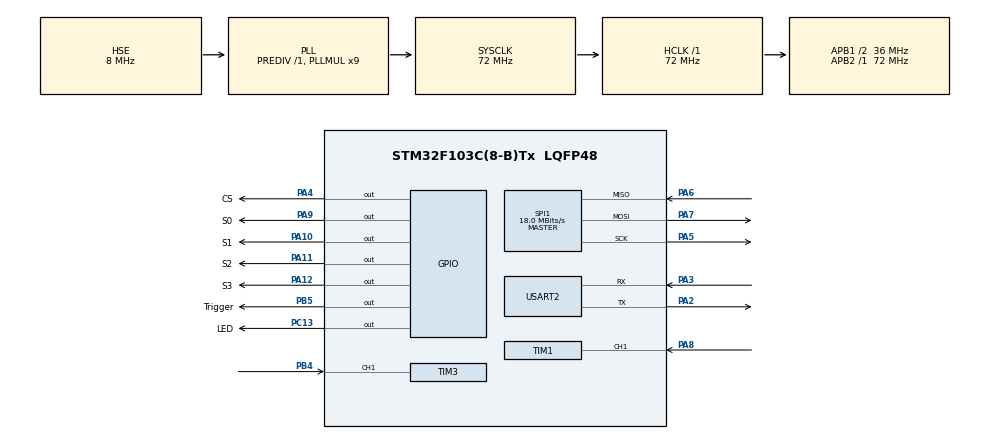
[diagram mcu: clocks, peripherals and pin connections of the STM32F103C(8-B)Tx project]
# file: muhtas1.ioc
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Mcu.Family=STM32F1
Mcu.Name=STM32F103C(8-B)Tx
Mcu.Package=LQFP48
NVIC.PriorityGroup=NVIC_PRIORITYGROUP_4
NVIC.TIM1_CC_IRQn=true\:0\:0\:false\:false\:true\:true\:true\:true
NVIC.TIM3_IRQn=true\:0\:0\:false\:false\:true\:true\:true\:true
PA10.GPIO_Label=S1
PA10.Signal=GPIO_Output
PA11.GPIO_Label=S2
PA11.Signal=GPIO_Output
PA12.GPIO_Label=S3
PA12.Signal=GPIO_Output
PA13.Mode=Serial_Wire
PA13.Signal=SYS_JTMS-SWDIO
PA14.Mode=Serial_Wire
PA14.Signal=SYS_JTCK-SWCLK
PA2.Mode=Asynchronous
PA2.Signal=USART2_TX
PA3.Mode=Asynchronous
PA3.Signal=USART2_RX
PA4.GPIO_Label=CS
PA4.Signal=GPIO_Output
PA5.Mode=Full_Duplex_Master
PA5.Signal=SPI1_SCK
PA6.Mode=Full_Duplex_Master
PA6.Signal=SPI1_MISO
PA7.Mode=Full_Duplex_Master
PA7.Signal=SPI1_MOSI
PA8.Signal=S_TIM1_CH1
PA9.GPIO_Label=S0
PA9.Signal=GPIO_Output
PB4.Signal=S_TIM3_CH1
PB5.GPIO_Label=Trigger
PB5.Signal=GPIO_Output
PC13-TAMPER-RTC.GPIO_Label=LED
PC13-TAMPER-RTC.Signal=GPIO_Output
PD0-OSC_IN.Mode=HSE-External-Oscillator
PD0-OSC_IN.Signal=RCC_OSC_IN
PD1-OSC_OUT.Mode=HSE-External-Oscillator
PD1-OSC_OUT.Signal=RCC_OSC_OUT
ProjectManager.HeapSize=0x200
ProjectManager.StackSize=0x400
ProjectManager.TargetToolchain=STM32CubeIDE
RCC.AHBFreq_Value=72000000
RCC.APB1CLKDivider=RCC_HCLK_DIV2
RCC.APB1Freq_Value=36000000
RCC.APB1TimFreq_Value=72000000
RCC.APB2Freq_Value=72000000
RCC.APB2TimFreq_Value=72000000
RCC.HCLKFreq_Value=72000000
RCC.PLLMUL=RCC_PLL_MUL9
RCC.PLLSourceVirtual=RCC_PLLSOURCE_HSE
RCC.SYSCLKFreq_VALUE=72000000
RCC.SYSCLKSource=RCC_SYSCLKSOURCE_PLLCLK
RCC.USBFreq_Value=72000000
SH.S_TIM1_CH1.0=TIM1_CH1,Input_Capture1_from_TI1
SH.S_TIM3_CH1.0=TIM3_CH1,Input_Capture1_from_TI1
SPI1.BaudRatePrescaler=SPI_BAUDRATEPRESCALER_4
SPI1.CalculateBaudRate=18.0 MBits/s
SPI1.Direction=SPI_DIRECTION_2LINES
SPI1.Mode=SPI_MODE_MASTER
SPI1.VirtualType=VM_MASTER
TIM1.Channel-Input_Capture1_from_TI1=TIM_CHANNEL_1
TIM1.Period=65535-1
TIM1.Prescaler=72-1
TIM2.Period=65534
TIM2.Prescaler=35
TIM3.AutoReloadPreload=TIM_AUTORELOAD_PRELOAD_ENABLE
TIM3.Channel-Input_Capture1_from_TI1=TIM_CHANNEL_1
USART2.VirtualMode=VM_ASYNC
VP_TIM1_VS_ClockSourceINT.Mode=Internal
VP_TIM2_VS_ClockSourceINT.Mode=Internal
board=custom

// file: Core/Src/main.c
/* USER CODE BEGIN Header */
/**
 ******************************************************************************
 * @file           : main.c
 * @brief          : Main program body
 ******************************************************************************
 * @attention
 *
 * Copyright (c) 2022 STMicroelectronics.
 * All rights reserved.
 *
 * This software is licensed under terms that can be found in the LICENSE file
 * in the root directory of this software component.
 * If no LICENSE file comes with this software, it is provided AS-IS.
 *
 ******************************************************************************
 */
/* USER CODE END Header */
#include "main.h"

/* USER CODE BEGIN Includes */
#include <string.h>
#include <stdlib.h>
#include <stdio.h>

#include "../W5500/mFunctions.h"
#include "../W5500/wizchip_conf.h"
#include "../W5500/socket.h"
#include "../W5500/w5500.h"

#define PORT 5000
#define SN 0
#define SOCK_TCPS 0

char msg[60];
/* USER CODE END Includes */

SPI_HandleTypeDef hspi1;

TIM_HandleTypeDef htim1;
TIM_HandleTypeDef htim2;
TIM_HandleTypeDef htim3;

UART_HandleTypeDef huart2;

void SystemClock_Config(void);
static void MX_GPIO_Init(void);
static void MX_SPI1_Init(void);
static void MX_USART2_UART_Init(void);
static void MX_TIM3_Init(void);
static void MX_TIM1_Init(void);
static void MX_TIM2_Init(void);
/* USER CODE BEGIN PFP */

#define IDLE 0
#define DONE 1
#define F_CLK 72000000UL

volatile uint8_t state = IDLE;
char message[50] = {};
char *point = message;
volatile uint32_t T1 = 0;
volatile uint32_t T3 = 0;
volatile uint32_t ticks = 0;
volatile uint16_t TIM3_OVC = 0;
volatile uint32_t frequency = 0;
int mDelay = 75;

//
uint32_t IC_Val1 = 0;
uint32_t IC_Val2 = 0;
uint32_t Difference = 0;
uint8_t Is_First_Captured = 0; // is the first value captured ?
uint8_t Distance = 0;
//

void HAL_TIM_IC_CaptureCallback(TIM_HandleTypeDef *htim)
{
  if (htim->Instance == TIM3) // if the interrupt source is channel1
  {
    if (state == IDLE)
    {
      T1 = TIM3->CCR1;
      TIM3_OVC = 0;
      state = DONE;
      message[0] = '\0';
    }
    else if (state == DONE)
    {
      T3 = TIM3->CCR1;
      ticks = (T3 + (TIM3_OVC * 65536)) - T1;
      frequency = (uint32_t)(F_CLK / ticks);
      state = IDLE;
    }
  }
  else if (htim->Instance == TIM1) // if the interrupt source is channel1
  {
    if (Is_First_Captured == 0) // if the first value is not captured
    {
      IC_Val1 = HAL_TIM_ReadCapturedValue(htim, TIM_CHANNEL_1); // read the first value
      Is_First_Captured = 1;                                    // set the first captured as true
      // Now change the polarity to falling edge
      __HAL_TIM_SET_CAPTUREPOLARITY(htim, TIM_CHANNEL_1, TIM_INPUTCHANNELPOLARITY_FALLING);
    }
    else if (Is_First_Captured == 1) // if the first is already captured
    {
      IC_Val2 = HAL_TIM_ReadCapturedValue(htim, TIM_CHANNEL_1); // read second value
      __HAL_TIM_SET_COUNTER(htim, 0);                           // reset the counter

      if (IC_Val2 > IC_Val1)
      {
        Difference = IC_Val2 - IC_Val1;
      }

      else if (IC_Val1 > IC_Val2)
      {
        Difference = (0xffff - IC_Val1) + IC_Val2;
      }

      Distance = Difference * .034 / 2;
      Is_First_Captured = 0; // set it back to false

      // set polarity to rising edge
      __HAL_TIM_SET_CAPTUREPOLARITY(htim, TIM_CHANNEL_1, TIM_INPUTCHANNELPOLARITY_RISING);
      __HAL_TIM_DISABLE_IT(&htim1, TIM_IT_CC1);
    }
  }
}

void HAL_TIM_PeriodElapsedCallback(TIM_HandleTypeDef *htim)
{
  TIM3_OVC++;
}

void HCSR04_Read(void)
{
  HAL_GPIO_WritePin(Trigger_GPIO_Port, Trigger_Pin, GPIO_PIN_SET);   // pull the TRIG pin HIGH
  mdelay(10);                                                         // wait for 10 us
  HAL_GPIO_WritePin(Trigger_GPIO_Port, Trigger_Pin, GPIO_PIN_RESET); // pull the TRIG pin low
  __HAL_TIM_ENABLE_IT(&htim1, TIM_IT_CC1);
}

void mdelay(uint16_t us)
{
  __HAL_TIM_SET_COUNTER(&htim2, 0); // set the counter value a 0
  while (__HAL_TIM_GET_COUNTER(&htim2) < us)
    ; // wait for the counter to reach the us input in the parameter
}

/* USER CODE END PFP */

/* USER CODE BEGIN 0 */

wiz_NetInfo netInfo = {.mac = {0x00, 0x08, 0xdc, 0xab, 0xcd, 0xef}, // Mac address
                       .ip = {192, 168, 0, 25},                     // IP address
                       .sn = {255, 255, 255, 0},                    // Subnet mask
                       .gw = {192, 168, 0, 1}};                     // Gateway address

uint8_t memSize[2][8] = {{2, 2, 2, 2, 2, 2, 2, 2}, {2, 2, 2, 2, 2, 2, 2, 2}};
uint8_t serverIp[] = {192, 168, 0, 15};

/* USER CODE END 0 */

int main(void)
{

  /* MCU Configuration--------------------------------------------------------*/

  /* Reset of all peripherals, Initializes the Flash interface and the Systick. */
  HAL_Init();

  /* Configure the system clock */
  SystemClock_Config();

  /* Initialize all configured peripherals */
  MX_GPIO_Init();
  MX_SPI1_Init();
  MX_USART2_UART_Init();
  MX_TIM3_Init();
  MX_TIM1_Init();
  MX_TIM2_Init();
  /* USER CODE BEGIN 2 */
  HAL_TIM_Base_Start_IT(&htim3);
  HAL_TIM_IC_Start_IT(&htim3, TIM_CHANNEL_1);
  HAL_TIM_IC_Start_IT(&htim1, TIM_CHANNEL_1);
  HAL_TIM_Base_Start(&htim2);
  mPrintf("Wiznet 5500 starting to initialize\r\n");

  reg_wizchip_cs_cbfunc(CsSelect, CsDeselect);
  reg_wizchip_spi_cbfunc(SpiRb, SpiWb);

  if (ctlwizchip(CW_INIT_WIZCHIP, (void *)memSize) == -1)
  {
    mPrintf("WIZCHIP Initialized fail.\r\n");
    while (1)
      ;
  }

  mPrintf("Wiznet 5500 starting to initialize network settings\r\n");

  ctlnetwork(CN_SET_NETINFO, (void *)&netInfo);
  ctlnetwork(CN_GET_NETINFO, (void *)&netInfo);

  PRINT_NETINFO(netInfo);

  SpeedSet(1);
  HAL_GPIO_WritePin(LED_GPIO_Port, LED_Pin, 1);
  int ret, size;
  /* USER CODE END 2 */

  /* Infinite loop */
  while (1)
  {

    /* USER CODE BEGIN 3 */
    if (frequency != 0 || 1)
    {
      ColorSet(RED);
      HAL_Delay(mDelay);
      int redFreq = frequency;

      ColorSet(BLUE);
      HAL_Delay(mDelay);
      int blueFreq = frequency;

      ColorSet(GREEN);
      HAL_Delay(mDelay);
      int greenFreq = frequency;
      HCSR04_Read();
      size = sprintf(point, "{\"red\":\"%d\",\"blue\":\"%d\",\"green\":\"%d\",\"distance\":\"%u\"}", redFreq, blueFreq, greenFreq, Distance);
      mPrintf(point);
    }
    switch (getSn_SR(0))
    {
    case SOCK_UDP:

      if (getSn_IR(0) & Sn_IR_RECV)
      {
        setSn_IR(0, Sn_IR_RECV);
      }

      if ((ret = getSn_RX_RSR(0)) > 0 || 1)
      {
        sendto(0, point, size, serverIp, PORT);
      }
      break;
    case SOCK_CLOSED:
      socket(0, Sn_MR_UDP, PORT, 0x00);
      break;
    }
    mPrintf("----LOOP----\r\n");
    HAL_Delay(150);
  }
  /* USER CODE END 3 */
}

void SystemClock_Config(void)
{
  RCC_OscInitTypeDef RCC_OscInitStruct = {0};
  RCC_ClkInitTypeDef RCC_ClkInitStruct = {0};

  /** Initializes the RCC Oscillators according to the specified parameters
  * in the RCC_OscInitTypeDef structure.
  */
  RCC_OscInitStruct.OscillatorType = RCC_OSCILLATORTYPE_HSE;
  RCC_OscInitStruct.HSEState = RCC_HSE_ON;
  RCC_OscInitStruct.HSEPredivValue = RCC_HSE_PREDIV_DIV1;
  RCC_OscInitStruct.HSIState = RCC_HSI_ON;
  RCC_OscInitStruct.PLL.PLLState = RCC_PLL_ON;
  RCC_OscInitStruct.PLL.PLLSource = RCC_PLLSOURCE_HSE;
  RCC_OscInitStruct.PLL.PLLMUL = RCC_PLL_MUL9;
  if (HAL_RCC_OscConfig(&RCC_OscInitStruct) != HAL_OK)
  {
    Error_Handler();
  }

  /** Initializes the CPU, AHB and APB buses clocks
  */
  RCC_ClkInitStruct.ClockType = RCC_CLOCKTYPE_HCLK|RCC_CLOCKTYPE_SYSCLK
                              |RCC_CLOCKTYPE_PCLK1|RCC_CLOCKTYPE_PCLK2;
  RCC_ClkInitStruct.SYSCLKSource = RCC_SYSCLKSOURCE_PLLCLK;
  RCC_ClkInitStruct.AHBCLKDivider = RCC_SYSCLK_DIV1;
  RCC_ClkInitStruct.APB1CLKDivider = RCC_HCLK_DIV2;
  RCC_ClkInitStruct.APB2CLKDivider = RCC_HCLK_DIV1;

  if (HAL_RCC_ClockConfig(&RCC_ClkInitStruct, FLASH_LATENCY_2) != HAL_OK)
  {
    Error_Handler();
  }
}

static void MX_SPI1_Init(void)
{

  /* SPI1 parameter configuration*/
  hspi1.Instance = SPI1;
  hspi1.Init.Mode = SPI_MODE_MASTER;
  hspi1.Init.Direction = SPI_DIRECTION_2LINES;
  hspi1.Init.DataSize = SPI_DATASIZE_8BIT;
  hspi1.Init.CLKPolarity = SPI_POLARITY_LOW;
  hspi1.Init.CLKPhase = SPI_PHASE_1EDGE;
  hspi1.Init.NSS = SPI_NSS_SOFT;
  hspi1.Init.BaudRatePrescaler = SPI_BAUDRATEPRESCALER_4;
  hspi1.Init.FirstBit = SPI_FIRSTBIT_MSB;
  hspi1.Init.TIMode = SPI_TIMODE_DISABLE;
  hspi1.Init.CRCCalculation = SPI_CRCCALCULATION_DISABLE;
  hspi1.Init.CRCPolynomial = 10;
  if (HAL_SPI_Init(&hspi1) != HAL_OK)
  {
    Error_Handler();
  }

}

static void MX_TIM1_Init(void)
{

  TIM_ClockConfigTypeDef sClockSourceConfig = {0};
  TIM_MasterConfigTypeDef sMasterConfig = {0};
  TIM_IC_InitTypeDef sConfigIC = {0};

  htim1.Instance = TIM1;
  htim1.Init.Prescaler = 72-1;
  htim1.Init.CounterMode = TIM_COUNTERMODE_UP;
  htim1.Init.Period = 65535-1;
  htim1.Init.ClockDivision = TIM_CLOCKDIVISION_DIV1;
  htim1.Init.RepetitionCounter = 0;
  htim1.Init.AutoReloadPreload = TIM_AUTORELOAD_PRELOAD_DISABLE;
  if (HAL_TIM_Base_Init(&htim1) != HAL_OK)
  {
    Error_Handler();
  }
  sClockSourceConfig.ClockSource = TIM_CLOCKSOURCE_INTERNAL;
  if (HAL_TIM_ConfigClockSource(&htim1, &sClockSourceConfig) != HAL_OK)
  {
    Error_Handler();
  }
  if (HAL_TIM_IC_Init(&htim1) != HAL_OK)
  {
    Error_Handler();
  }
  sMasterConfig.MasterOutputTrigger = TIM_TRGO_RESET;
  sMasterConfig.MasterSlaveMode = TIM_MASTERSLAVEMODE_DISABLE;
  if (HAL_TIMEx_MasterConfigSynchronization(&htim1, &sMasterConfig) != HAL_OK)
  {
    Error_Handler();
  }
  sConfigIC.ICPolarity = TIM_INPUTCHANNELPOLARITY_RISING;
  sConfigIC.ICSelection = TIM_ICSELECTION_DIRECTTI;
  sConfigIC.ICPrescaler = TIM_ICPSC_DIV1;
  sConfigIC.ICFilter = 0;
  if (HAL_TIM_IC_ConfigChannel(&htim1, &sConfigIC, TIM_CHANNEL_1) != HAL_OK)
  {
    Error_Handler();
  }

}

static void MX_TIM2_Init(void)
{

  TIM_ClockConfigTypeDef sClockSourceConfig = {0};
  TIM_MasterConfigTypeDef sMasterConfig = {0};

  htim2.Instance = TIM2;
  htim2.Init.Prescaler = 35;
  htim2.Init.CounterMode = TIM_COUNTERMODE_UP;
  htim2.Init.Period = 65534;
  htim2.Init.ClockDivision = TIM_CLOCKDIVISION_DIV1;
  htim2.Init.AutoReloadPreload = TIM_AUTORELOAD_PRELOAD_DISABLE;
  if (HAL_TIM_Base_Init(&htim2) != HAL_OK)
  {
    Error_Handler();
  }
  sClockSourceConfig.ClockSource = TIM_CLOCKSOURCE_INTERNAL;
  if (HAL_TIM_ConfigClockSource(&htim2, &sClockSourceConfig) != HAL_OK)
  {
    Error_Handler();
  }
  sMasterConfig.MasterOutputTrigger = TIM_TRGO_RESET;
  sMasterConfig.MasterSlaveMode = TIM_MASTERSLAVEMODE_DISABLE;
  if (HAL_TIMEx_MasterConfigSynchronization(&htim2, &sMasterConfig) != HAL_OK)
  {
    Error_Handler();
  }

}

static void MX_TIM3_Init(void)
{

  TIM_MasterConfigTypeDef sMasterConfig = {0};
  TIM_IC_InitTypeDef sConfigIC = {0};

  htim3.Instance = TIM3;
  htim3.Init.Prescaler = 0;
  htim3.Init.CounterMode = TIM_COUNTERMODE_UP;
  htim3.Init.Period = 65535;
  htim3.Init.ClockDivision = TIM_CLOCKDIVISION_DIV1;
  htim3.Init.AutoReloadPreload = TIM_AUTORELOAD_PRELOAD_ENABLE;
  if (HAL_TIM_IC_Init(&htim3) != HAL_OK)
  {
    Error_Handler();
  }
  sMasterConfig.MasterOutputTrigger = TIM_TRGO_RESET;
  sMasterConfig.MasterSlaveMode = TIM_MASTERSLAVEMODE_DISABLE;
  if (HAL_TIMEx_MasterConfigSynchronization(&htim3, &sMasterConfig) != HAL_OK)
  {
    Error_Handler();
  }
  sConfigIC.ICPolarity = TIM_INPUTCHANNELPOLARITY_RISING;
  sConfigIC.ICSelection = TIM_ICSELECTION_DIRECTTI;
  sConfigIC.ICPrescaler = TIM_ICPSC_DIV1;
  sConfigIC.ICFilter = 0;
  if (HAL_TIM_IC_ConfigChannel(&htim3, &sConfigIC, TIM_CHANNEL_1) != HAL_OK)
  {
    Error_Handler();
  }

}

static void MX_USART2_UART_Init(void)
{

  huart2.Instance = USART2;
  huart2.Init.BaudRate = 115200;
  huart2.Init.WordLength = UART_WORDLENGTH_8B;
  huart2.Init.StopBits = UART_STOPBITS_1;
  huart2.Init.Parity = UART_PARITY_NONE;
  huart2.Init.Mode = UART_MODE_TX_RX;
  huart2.Init.HwFlowCtl = UART_HWCONTROL_NONE;
  huart2.Init.OverSampling = UART_OVERSAMPLING_16;
  if (HAL_UART_Init(&huart2) != HAL_OK)
  {
    Error_Handler();
  }

}

static void MX_GPIO_Init(void)
{
  GPIO_InitTypeDef GPIO_InitStruct = {0};

  /* GPIO Ports Clock Enable */
  __HAL_RCC_GPIOC_CLK_ENABLE();
  __HAL_RCC_GPIOD_CLK_ENABLE();
  __HAL_RCC_GPIOA_CLK_ENABLE();
  __HAL_RCC_GPIOB_CLK_ENABLE();

  /*Configure GPIO pin Output Level */
  HAL_GPIO_WritePin(LED_GPIO_Port, LED_Pin, GPIO_PIN_RESET);

  /*Configure GPIO pin Output Level */
  HAL_GPIO_WritePin(GPIOA, CS_Pin|S0_Pin|S1_Pin|S2_Pin
                          |S3_Pin, GPIO_PIN_RESET);

  /*Configure GPIO pin Output Level */
  HAL_GPIO_WritePin(Trigger_GPIO_Port, Trigger_Pin, GPIO_PIN_RESET);

  /*Configure GPIO pin : LED_Pin */
  GPIO_InitStruct.Pin = LED_Pin;
  GPIO_InitStruct.Mode = GPIO_MODE_OUTPUT_PP;
  GPIO_InitStruct.Pull = GPIO_NOPULL;
  GPIO_InitStruct.Speed = GPIO_SPEED_FREQ_LOW;
  HAL_GPIO_Init(LED_GPIO_Port, &GPIO_InitStruct);

  /*Configure GPIO pins : CS_Pin S0_Pin S1_Pin S2_Pin
                           S3_Pin */
  GPIO_InitStruct.Pin = CS_Pin|S0_Pin|S1_Pin|S2_Pin
                          |S3_Pin;
  GPIO_InitStruct.Mode = GPIO_MODE_OUTPUT_PP;
  GPIO_InitStruct.Pull = GPIO_NOPULL;
  GPIO_InitStruct.Speed = GPIO_SPEED_FREQ_LOW;
  HAL_GPIO_Init(GPIOA, &GPIO_InitStruct);

  /*Configure GPIO pin : Trigger_Pin */
  GPIO_InitStruct.Pin = Trigger_Pin;
  GPIO_InitStruct.Mode = GPIO_MODE_OUTPUT_PP;
  GPIO_InitStruct.Pull = GPIO_NOPULL;
  GPIO_InitStruct.Speed = GPIO_SPEED_FREQ_LOW;
  HAL_GPIO_Init(Trigger_GPIO_Port, &GPIO_InitStruct);

}

void Error_Handler(void)
{
  __disable_irq();
  while (1)
  {
  }
}
